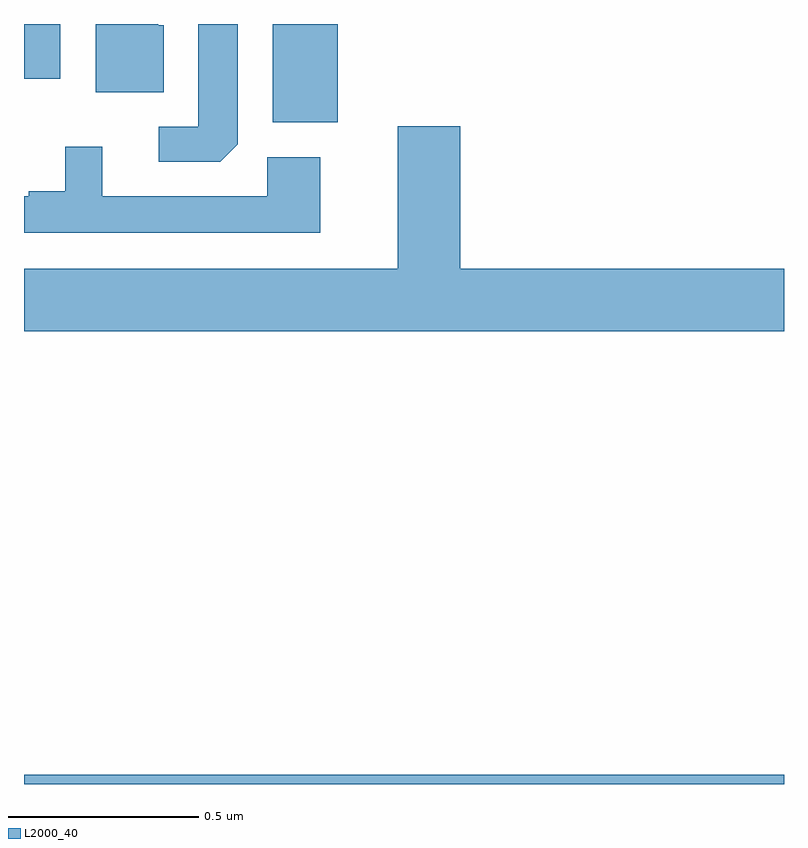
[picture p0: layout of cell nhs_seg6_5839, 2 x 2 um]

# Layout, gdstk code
import gdstk
lib = gdstk.Library(unit=1e-6, precision=1e-09)
def R(c, l, rs):  # rectangles x0, y0, x1, y1
    for r in rs: c.add(gdstk.rectangle(r[:2], r[2:], *l))
def P(c, l, *ps):  # polygons
    for p in ps: c.add(gdstk.Polygon(p, *l))
L2000_40 = (2000, 40)

nhs_seg6_5839 = lib.new_cell('nhs_seg6_5839')
R(nhs_seg6_5839, L2000_40, [(188,923.5,190,923.524), (188.654,925.241,188.825,925.5), (188,925.356,188.095,925.5)])
P(nhs_seg6_5839, L2000_40, [(188.562,925.183),(188.562,925.294),(188.563,925.294),(188.563,925.5),(188.459,925.5),(188.459,925.23),(188.355,925.23),(188.355,925.137),(188.516,925.137)],
  [(188.368,925.497),(188.353,925.497),(188.353,925.5),(188.189,925.5),(188.189,925.32),(188.368,925.32)],
  [(190,924.856),(189.148,924.856),(189.148,925.231),(188.984,925.231),(188.984,924.856),(188,924.856),(188,924.692),(190,924.692)],
  [(188.779,925.15),(188.64,925.15),(188.64,925.047),(188.206,925.047),(188.206,925.177),(188.108,925.177),(188.108,925.06),(188.012,925.06),(188.012,925.047),(188,925.047),(188,924.951),(188.779,924.951)])

lib.write_gds('nhs_seg6_5839.gds')
